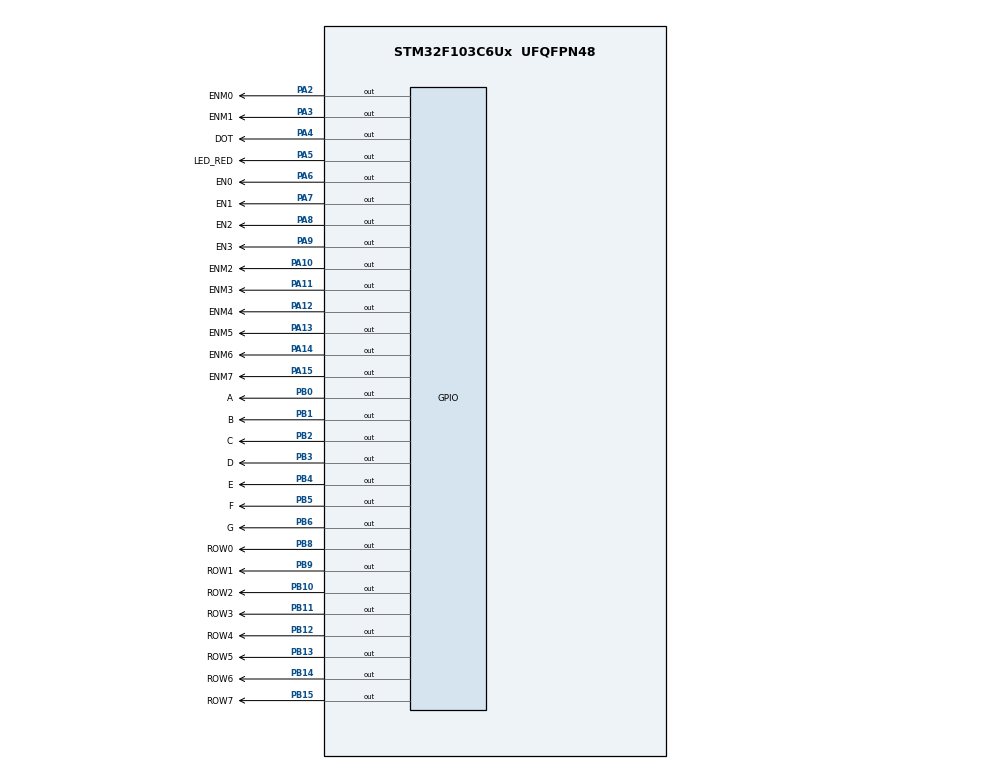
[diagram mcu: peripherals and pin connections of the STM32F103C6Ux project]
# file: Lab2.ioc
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Mcu.Family=STM32F1
Mcu.Name=STM32F103C6Ux
Mcu.Package=UFQFPN48
NVIC.PriorityGroup=NVIC_PRIORITYGROUP_4
NVIC.TIM2_IRQn=true\:0\:0\:false\:false\:true\:true\:true\:true
PA10.GPIO_Label=ENM2
PA10.Signal=GPIO_Output
PA11.GPIO_Label=ENM3
PA11.Signal=GPIO_Output
PA12.GPIO_Label=ENM4
PA12.Signal=GPIO_Output
PA13.GPIO_Label=ENM5
PA13.Signal=GPIO_Output
PA14.GPIO_Label=ENM6
PA14.Signal=GPIO_Output
PA15.GPIO_Label=ENM7
PA15.Signal=GPIO_Output
PA2.GPIO_Label=ENM0
PA2.Signal=GPIO_Output
PA3.GPIO_Label=ENM1
PA3.Signal=GPIO_Output
PA4.GPIO_Label=DOT
PA4.Signal=GPIO_Output
PA5.GPIO_Label=LED_RED
PA5.Signal=GPIO_Output
PA6.GPIO_Label=EN0
PA6.PinState=GPIO_PIN_RESET
PA6.Signal=GPIO_Output
PA7.GPIO_Label=EN1
PA7.PinState=GPIO_PIN_SET
PA7.Signal=GPIO_Output
PA8.GPIO_Label=EN2
PA8.PinState=GPIO_PIN_SET
PA8.Signal=GPIO_Output
PA9.GPIO_Label=EN3
PA9.PinState=GPIO_PIN_SET
PA9.Signal=GPIO_Output
PB0.GPIO_Label=A
PB0.PinState=GPIO_PIN_RESET
PB0.Signal=GPIO_Output
PB1.GPIO_Label=B
PB1.PinState=GPIO_PIN_RESET
PB1.Signal=GPIO_Output
PB10.GPIO_Label=ROW2
PB10.Signal=GPIO_Output
PB11.GPIO_Label=ROW3
PB11.Signal=GPIO_Output
PB12.GPIO_Label=ROW4
PB12.Signal=GPIO_Output
PB13.GPIO_Label=ROW5
PB13.Signal=GPIO_Output
PB14.GPIO_Label=ROW6
PB14.Signal=GPIO_Output
PB15.GPIO_Label=ROW7
PB15.Signal=GPIO_Output
PB2.GPIO_Label=C
PB2.PinState=GPIO_PIN_RESET
PB2.Signal=GPIO_Output
PB3.GPIO_Label=D
PB3.PinState=GPIO_PIN_RESET
PB3.Signal=GPIO_Output
PB4.GPIO_Label=E
PB4.PinState=GPIO_PIN_RESET
PB4.Signal=GPIO_Output
PB5.GPIO_Label=F
PB5.PinState=GPIO_PIN_RESET
PB5.Signal=GPIO_Output
PB6.GPIO_Label=G
PB6.PinState=GPIO_PIN_RESET
PB6.Signal=GPIO_Output
PB8.GPIO_Label=ROW0
PB8.Signal=GPIO_Output
PB9.GPIO_Label=ROW1
PB9.Signal=GPIO_Output
ProjectManager.HeapSize=0x200
ProjectManager.StackSize=0x400
ProjectManager.TargetToolchain=STM32CubeIDE
RCC.APB1Freq_Value=8000000
RCC.APB2Freq_Value=8000000
TIM2.Period=10
TIM2.Prescaler=7999
VP_TIM2_VS_ClockSourceINT.Mode=Internal
board=custom

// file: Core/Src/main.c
/* USER CODE BEGIN Header */
/**
  ******************************************************************************
  * @file           : main.c
  * @brief          : Main program body
  ******************************************************************************
  * @attention
  *
  * Copyright (c) 2023 STMicroelectronics.
  * All rights reserved.
  *
  * This software is licensed under terms that can be found in the LICENSE file
  * in the root directory of this software component.
  * If no LICENSE file comes with this software, it is provided AS-IS.
  *
  ******************************************************************************
  */
/* USER CODE END Header */
#include "main.h"

/* USER CODE BEGIN Includes */
#include "software_timer.h"
/* USER CODE END Includes */

TIM_HandleTypeDef htim2;

void SystemClock_Config(void);
static void MX_GPIO_Init(void);
static void MX_TIM2_Init(void);

/* USER CODE BEGIN 0 */
void display7SEG(int num){
	switch(num){
		case 0:
			HAL_GPIO_WritePin ( A_GPIO_Port , A_Pin , GPIO_PIN_RESET ) ;
			HAL_GPIO_WritePin ( B_GPIO_Port , B_Pin , GPIO_PIN_RESET ) ;
			HAL_GPIO_WritePin ( C_GPIO_Port , C_Pin , GPIO_PIN_RESET ) ;
			HAL_GPIO_WritePin ( D_GPIO_Port , D_Pin , GPIO_PIN_RESET ) ;
			HAL_GPIO_WritePin ( E_GPIO_Port , E_Pin , GPIO_PIN_RESET ) ;
			HAL_GPIO_WritePin ( F_GPIO_Port , F_Pin , GPIO_PIN_RESET ) ;
			HAL_GPIO_WritePin ( G_GPIO_Port , G_Pin , GPIO_PIN_SET ) ;
			break;
		case 1:
			HAL_GPIO_WritePin ( A_GPIO_Port , A_Pin , GPIO_PIN_SET ) ;
			HAL_GPIO_WritePin ( B_GPIO_Port , B_Pin , GPIO_PIN_RESET ) ;
			HAL_GPIO_WritePin ( C_GPIO_Port , C_Pin , GPIO_PIN_RESET ) ;
			HAL_GPIO_WritePin ( D_GPIO_Port , D_Pin , GPIO_PIN_SET ) ;
			HAL_GPIO_WritePin ( E_GPIO_Port , E_Pin , GPIO_PIN_SET ) ;
			HAL_GPIO_WritePin ( F_GPIO_Port , F_Pin , GPIO_PIN_SET ) ;
			HAL_GPIO_WritePin ( G_GPIO_Port , G_Pin , GPIO_PIN_SET ) ;
			break;
		case 2:
			HAL_GPIO_WritePin ( A_GPIO_Port , A_Pin , GPIO_PIN_RESET ) ;
			HAL_GPIO_WritePin ( B_GPIO_Port , B_Pin , GPIO_PIN_RESET ) ;
			HAL_GPIO_WritePin ( C_GPIO_Port , C_Pin , GPIO_PIN_SET ) ;
			HAL_GPIO_WritePin ( D_GPIO_Port , D_Pin , GPIO_PIN_RESET ) ;
			HAL_GPIO_WritePin ( E_GPIO_Port , E_Pin , GPIO_PIN_RESET ) ;
			HAL_GPIO_WritePin ( F_GPIO_Port , F_Pin , GPIO_PIN_SET ) ;
			HAL_GPIO_WritePin ( G_GPIO_Port , G_Pin , GPIO_PIN_RESET ) ;
			break;
		case 3:
			HAL_GPIO_WritePin ( A_GPIO_Port , A_Pin , GPIO_PIN_RESET ) ;
			HAL_GPIO_WritePin ( B_GPIO_Port , B_Pin , GPIO_PIN_RESET ) ;
			HAL_GPIO_WritePin ( C_GPIO_Port , C_Pin , GPIO_PIN_RESET ) ;
			HAL_GPIO_WritePin ( D_GPIO_Port , D_Pin , GPIO_PIN_RESET ) ;
			HAL_GPIO_WritePin ( E_GPIO_Port , E_Pin , GPIO_PIN_SET ) ;
			HAL_GPIO_WritePin ( F_GPIO_Port , F_Pin , GPIO_PIN_SET ) ;
			HAL_GPIO_WritePin ( G_GPIO_Port , G_Pin , GPIO_PIN_RESET ) ;
			break;
		case 4:
			HAL_GPIO_WritePin ( A_GPIO_Port , A_Pin , GPIO_PIN_SET ) ;
			HAL_GPIO_WritePin ( B_GPIO_Port , B_Pin , GPIO_PIN_RESET ) ;
			HAL_GPIO_WritePin ( C_GPIO_Port , C_Pin , GPIO_PIN_RESET ) ;
			HAL_GPIO_WritePin ( D_GPIO_Port , D_Pin , GPIO_PIN_SET ) ;
			HAL_GPIO_WritePin ( E_GPIO_Port , E_Pin , GPIO_PIN_SET ) ;
			HAL_GPIO_WritePin ( F_GPIO_Port , F_Pin , GPIO_PIN_RESET ) ;
			HAL_GPIO_WritePin ( G_GPIO_Port , G_Pin , GPIO_PIN_RESET ) ;
			break;
		case 5:
			HAL_GPIO_WritePin ( A_GPIO_Port , A_Pin , GPIO_PIN_RESET ) ;
			HAL_GPIO_WritePin ( B_GPIO_Port , B_Pin , GPIO_PIN_SET ) ;
			HAL_GPIO_WritePin ( C_GPIO_Port , C_Pin , GPIO_PIN_RESET ) ;
			HAL_GPIO_WritePin ( D_GPIO_Port , D_Pin , GPIO_PIN_RESET ) ;
			HAL_GPIO_WritePin ( E_GPIO_Port , E_Pin , GPIO_PIN_SET ) ;
			HAL_GPIO_WritePin ( F_GPIO_Port , F_Pin , GPIO_PIN_RESET ) ;
			HAL_GPIO_WritePin ( G_GPIO_Port , G_Pin , GPIO_PIN_RESET ) ;
			break;
		case 6:
			HAL_GPIO_WritePin ( A_GPIO_Port , A_Pin , GPIO_PIN_RESET ) ;
			HAL_GPIO_WritePin ( B_GPIO_Port , B_Pin , GPIO_PIN_SET ) ;
			HAL_GPIO_WritePin ( C_GPIO_Port , C_Pin , GPIO_PIN_RESET ) ;
			HAL_GPIO_WritePin ( D_GPIO_Port , D_Pin , GPIO_PIN_RESET ) ;
			HAL_GPIO_WritePin ( E_GPIO_Port , E_Pin , GPIO_PIN_RESET ) ;
			HAL_GPIO_WritePin ( F_GPIO_Port , F_Pin , GPIO_PIN_RESET ) ;
			HAL_GPIO_WritePin ( G_GPIO_Port , G_Pin , GPIO_PIN_RESET ) ;
			break;
		case 7:
			HAL_GPIO_WritePin ( A_GPIO_Port , A_Pin , GPIO_PIN_RESET ) ;
			HAL_GPIO_WritePin ( B_GPIO_Port , B_Pin , GPIO_PIN_RESET ) ;
			HAL_GPIO_WritePin ( C_GPIO_Port , C_Pin , GPIO_PIN_RESET ) ;
			HAL_GPIO_WritePin ( D_GPIO_Port , D_Pin , GPIO_PIN_SET ) ;
			HAL_GPIO_WritePin ( E_GPIO_Port , E_Pin , GPIO_PIN_SET ) ;
			HAL_GPIO_WritePin ( F_GPIO_Port , F_Pin , GPIO_PIN_SET ) ;
			HAL_GPIO_WritePin ( G_GPIO_Port , G_Pin , GPIO_PIN_SET ) ;
			break;
		case 8:
			HAL_GPIO_WritePin ( A_GPIO_Port , A_Pin , GPIO_PIN_RESET ) ;
			HAL_GPIO_WritePin ( B_GPIO_Port , B_Pin , GPIO_PIN_RESET ) ;
			HAL_GPIO_WritePin ( C_GPIO_Port , C_Pin , GPIO_PIN_RESET ) ;
			HAL_GPIO_WritePin ( D_GPIO_Port , D_Pin , GPIO_PIN_RESET ) ;
			HAL_GPIO_WritePin ( E_GPIO_Port , E_Pin , GPIO_PIN_RESET ) ;
			HAL_GPIO_WritePin ( F_GPIO_Port , F_Pin , GPIO_PIN_RESET ) ;
			HAL_GPIO_WritePin ( G_GPIO_Port , G_Pin , GPIO_PIN_RESET ) ;
			break;
		case 9:
			HAL_GPIO_WritePin ( A_GPIO_Port , A_Pin , GPIO_PIN_RESET ) ;
			HAL_GPIO_WritePin ( B_GPIO_Port , B_Pin , GPIO_PIN_RESET ) ;
			HAL_GPIO_WritePin ( C_GPIO_Port , C_Pin , GPIO_PIN_RESET ) ;
			HAL_GPIO_WritePin ( D_GPIO_Port , D_Pin , GPIO_PIN_RESET ) ;
			HAL_GPIO_WritePin ( E_GPIO_Port , E_Pin , GPIO_PIN_SET ) ;
			HAL_GPIO_WritePin ( F_GPIO_Port , F_Pin , GPIO_PIN_RESET ) ;
			HAL_GPIO_WritePin ( G_GPIO_Port , G_Pin , GPIO_PIN_RESET ) ;
			break;
		default:
			break;
	}
}
/* USER CODE END 0 */

int main(void)
{

  /* MCU Configuration--------------------------------------------------------*/

  /* Reset of all peripherals, Initializes the Flash interface and the Systick. */
  HAL_Init();

  /* Configure the system clock */
  SystemClock_Config();

  /* Initialize all configured peripherals */
  MX_GPIO_Init();
  MX_TIM2_Init();
  /* USER CODE BEGIN 2 */
  setTimer(0, 100);
  setTimer(1, 25);
  setTimer(2, 1);
  HAL_TIM_Base_Start_IT(&htim2);
const int MAX_LED = 4;
int index_led = 0;
int led_buffer [4] = {1 , 2 , 3 , 4};
void update7SEG ( int index ) {
	display7SEG(led_buffer[index]);
	switch ( index ) {
		case 0:
			// Display the first 7 SEG with led_buffer [0]
			HAL_GPIO_WritePin(GPIOA, EN0_Pin, RESET);
			HAL_GPIO_WritePin(GPIOA, EN1_Pin, SET);
			HAL_GPIO_WritePin(GPIOA, EN2_Pin, SET);
			HAL_GPIO_WritePin(GPIOA, EN3_Pin, SET);
			break ;
		case 1:
			// Display the second 7 SEG with led_buffer [1]
			HAL_GPIO_WritePin(GPIOA, EN0_Pin, SET);
			HAL_GPIO_WritePin(GPIOA, EN1_Pin, RESET);
			HAL_GPIO_WritePin(GPIOA, EN2_Pin, SET);
			HAL_GPIO_WritePin(GPIOA, EN3_Pin, SET);
			break ;
		case 2:
			// Display the third 7 SEG with led_buffer [2]
			HAL_GPIO_WritePin(GPIOA, EN0_Pin, SET);
			HAL_GPIO_WritePin(GPIOA, EN1_Pin, SET);
			HAL_GPIO_WritePin(GPIOA, EN2_Pin, RESET);
			HAL_GPIO_WritePin(GPIOA, EN3_Pin, SET);
			break ;
		case 3:
			// Display the forth 7 SEG with led_buffer [3]
			HAL_GPIO_WritePin(GPIOA, EN0_Pin, SET);
			HAL_GPIO_WritePin(GPIOA, EN1_Pin, SET);
			HAL_GPIO_WritePin(GPIOA, EN2_Pin, SET);
			HAL_GPIO_WritePin(GPIOA, EN3_Pin, RESET);
			break ;
		default :
			break ;
	}
}
int hour = 15, minute = 8, second = 50;
void updateClockBuffer(){
	led_buffer[0] = hour/10;
	led_buffer[1] = hour%10;
	led_buffer[2] = minute/10;
	led_buffer[3] = minute%10;
}
const int MAX_LED_MATRIX = 8;
int index_led_matrix = 0;
int init_buffer = 3;
int current_buffer = 3;
uint8_t matrix_buffer [8] = {0x3F, 0x7F, 0xCC, 0xCC, 0x7F, 0x3F, 0x00, 0x00};
void setRow(uint8_t code){
	  if((code >> 0) & 0x01)
		  HAL_GPIO_WritePin(ROW7_GPIO_Port, ROW7_Pin, RESET);
	  if((code >> 1) & 0x01)
		  HAL_GPIO_WritePin(ROW6_GPIO_Port, ROW6_Pin, RESET);
	  if((code >> 2) & 0x01)
		  HAL_GPIO_WritePin(ROW5_GPIO_Port, ROW5_Pin, RESET);
	  if((code >> 3) & 0x01)
		  HAL_GPIO_WritePin(ROW4_GPIO_Port, ROW4_Pin, RESET);
	  if((code >> 4) & 0x01)
		  HAL_GPIO_WritePin(ROW3_GPIO_Port, ROW3_Pin, RESET);
	  if((code >> 5) & 0x01)
		  HAL_GPIO_WritePin(ROW2_GPIO_Port, ROW2_Pin, RESET);
	  if((code >> 6) & 0x01)
		  HAL_GPIO_WritePin(ROW1_GPIO_Port, ROW1_Pin, RESET);
	  if((code >> 7) & 0x01)
		  HAL_GPIO_WritePin(ROW0_GPIO_Port, ROW0_Pin, RESET);
  }
void updateLEDMatrix (int index_led_matrix, int current_buffer) {
	if(current_buffer < 0) return;
	HAL_GPIO_WritePin(GPIOA, ENM0_Pin|ENM1_Pin|ENM2_Pin|ENM3_Pin|
							 ENM4_Pin|ENM5_Pin|ENM6_Pin|ENM7_Pin, GPIO_PIN_SET);
	HAL_GPIO_WritePin(GPIOB, ROW0_Pin|ROW1_Pin|ROW2_Pin|ROW3_Pin|
							 ROW4_Pin|ROW5_Pin|ROW6_Pin|ROW7_Pin, GPIO_PIN_SET);
	switch (current_buffer) {
		case 0:
			HAL_GPIO_WritePin(GPIOA, ENM0_Pin, RESET);
			break;
		case 1:
			HAL_GPIO_WritePin(GPIOA, ENM1_Pin, RESET);
			break;
		case 2:
			HAL_GPIO_WritePin(GPIOA, ENM2_Pin, RESET);
			break;
		case 3:
			HAL_GPIO_WritePin(GPIOA, ENM3_Pin, RESET);
			break;
		case 4:
			HAL_GPIO_WritePin(GPIOA, ENM4_Pin, RESET);
			break;
		case 5:
			HAL_GPIO_WritePin(GPIOA, ENM5_Pin, RESET);
			break;
		case 6:
			HAL_GPIO_WritePin(GPIOA, ENM6_Pin, RESET);
			break;
		case 7:
			HAL_GPIO_WritePin(GPIOA, ENM7_Pin, RESET);
			break;
		default :
			break;
	}
	setRow(matrix_buffer[index_led_matrix]);
}
  /* USER CODE END 2 */

  /* Infinite loop */
  /* USER CODE BEGIN WHILE */
  while (1)
  {
	  if(timer_flag[0] == 1){
		  HAL_GPIO_TogglePin(GPIOA, LED_RED_Pin);
		  HAL_GPIO_TogglePin(GPIOA, DOT_Pin);
		  second++;
		  if(second >= 60){
			  second = 0;
			  minute++;
		  }
		  if(minute >= 60){
			  minute = 0;
			  hour++;
		  }
		  if(hour >= 24){
			  hour = 0;
		  }
		  updateClockBuffer();
		  setTimer(0, 100);
	  }
	  if(timer_flag[1] == 1){
		  update7SEG(index_led);
		  index_led++;
		  if(index_led > 3) index_led = 0;
		  setTimer(1, 25);
	  }
	  if(timer_flag[2] == 1){
		  updateLEDMatrix(index_led_matrix, current_buffer);
		  current_buffer++;
		  index_led_matrix++;
		  if(index_led_matrix >= MAX_LED_MATRIX){
			  index_led_matrix = 0;
			  init_buffer--;
			  if(init_buffer == -8) init_buffer = 7;
			  current_buffer = init_buffer;
	  	  }
		  setTimer(2, 1);
	  }
    /* USER CODE END WHILE */

  }
}

void SystemClock_Config(void)
{
  RCC_OscInitTypeDef RCC_OscInitStruct = {0};
  RCC_ClkInitTypeDef RCC_ClkInitStruct = {0};

  /** Initializes the RCC Oscillators according to the specified parameters
  * in the RCC_OscInitTypeDef structure.
  */
  RCC_OscInitStruct.OscillatorType = RCC_OSCILLATORTYPE_HSI;
  RCC_OscInitStruct.HSIState = RCC_HSI_ON;
  RCC_OscInitStruct.HSICalibrationValue = RCC_HSICALIBRATION_DEFAULT;
  RCC_OscInitStruct.PLL.PLLState = RCC_PLL_NONE;
  if (HAL_RCC_OscConfig(&RCC_OscInitStruct) != HAL_OK)
  {
    Error_Handler();
  }

  /** Initializes the CPU, AHB and APB buses clocks
  */
  RCC_ClkInitStruct.ClockType = RCC_CLOCKTYPE_HCLK|RCC_CLOCKTYPE_SYSCLK
                              |RCC_CLOCKTYPE_PCLK1|RCC_CLOCKTYPE_PCLK2;
  RCC_ClkInitStruct.SYSCLKSource = RCC_SYSCLKSOURCE_HSI;
  RCC_ClkInitStruct.AHBCLKDivider = RCC_SYSCLK_DIV1;
  RCC_ClkInitStruct.APB1CLKDivider = RCC_HCLK_DIV1;
  RCC_ClkInitStruct.APB2CLKDivider = RCC_HCLK_DIV1;

  if (HAL_RCC_ClockConfig(&RCC_ClkInitStruct, FLASH_LATENCY_0) != HAL_OK)
  {
    Error_Handler();
  }
}

static void MX_TIM2_Init(void)
{

  TIM_ClockConfigTypeDef sClockSourceConfig = {0};
  TIM_MasterConfigTypeDef sMasterConfig = {0};

  htim2.Instance = TIM2;
  htim2.Init.Prescaler = 7999;
  htim2.Init.CounterMode = TIM_COUNTERMODE_UP;
  htim2.Init.Period = 10;
  htim2.Init.ClockDivision = TIM_CLOCKDIVISION_DIV1;
  htim2.Init.AutoReloadPreload = TIM_AUTORELOAD_PRELOAD_DISABLE;
  if (HAL_TIM_Base_Init(&htim2) != HAL_OK)
  {
    Error_Handler();
  }
  sClockSourceConfig.ClockSource = TIM_CLOCKSOURCE_INTERNAL;
  if (HAL_TIM_ConfigClockSource(&htim2, &sClockSourceConfig) != HAL_OK)
  {
    Error_Handler();
  }
  sMasterConfig.MasterOutputTrigger = TIM_TRGO_RESET;
  sMasterConfig.MasterSlaveMode = TIM_MASTERSLAVEMODE_DISABLE;
  if (HAL_TIMEx_MasterConfigSynchronization(&htim2, &sMasterConfig) != HAL_OK)
  {
    Error_Handler();
  }

}

static void MX_GPIO_Init(void)
{
  GPIO_InitTypeDef GPIO_InitStruct = {0};

  /* GPIO Ports Clock Enable */
  __HAL_RCC_GPIOA_CLK_ENABLE();
  __HAL_RCC_GPIOB_CLK_ENABLE();

  /*Configure GPIO pin Output Level */
  HAL_GPIO_WritePin(GPIOA, ENM0_Pin|ENM1_Pin|DOT_Pin|LED_RED_Pin
                          |EN0_Pin, GPIO_PIN_RESET);

  /*Configure GPIO pin Output Level */
  HAL_GPIO_WritePin(GPIOA, EN1_Pin|EN2_Pin|EN3_Pin|ENM2_Pin
                          |ENM3_Pin|ENM4_Pin|ENM5_Pin|ENM6_Pin
                          |ENM7_Pin, GPIO_PIN_SET);

  /*Configure GPIO pin Output Level */
  HAL_GPIO_WritePin(GPIOB, A_Pin|B_Pin|C_Pin|ROW2_Pin
                          |ROW3_Pin|ROW4_Pin|ROW5_Pin|ROW6_Pin
                          |ROW7_Pin|D_Pin|E_Pin|F_Pin
                          |G_Pin|ROW0_Pin|ROW1_Pin, GPIO_PIN_RESET);

  /*Configure GPIO pins : ENM0_Pin ENM1_Pin DOT_Pin LED_RED_Pin
                           EN0_Pin EN1_Pin EN2_Pin EN3_Pin
                           ENM2_Pin ENM3_Pin ENM4_Pin ENM5_Pin
                           ENM6_Pin ENM7_Pin */
  GPIO_InitStruct.Pin = ENM0_Pin|ENM1_Pin|DOT_Pin|LED_RED_Pin
                          |EN0_Pin|EN1_Pin|EN2_Pin|EN3_Pin
                          |ENM2_Pin|ENM3_Pin|ENM4_Pin|ENM5_Pin
                          |ENM6_Pin|ENM7_Pin;
  GPIO_InitStruct.Mode = GPIO_MODE_OUTPUT_PP;
  GPIO_InitStruct.Pull = GPIO_NOPULL;
  GPIO_InitStruct.Speed = GPIO_SPEED_FREQ_LOW;
  HAL_GPIO_Init(GPIOA, &GPIO_InitStruct);

  /*Configure GPIO pins : A_Pin B_Pin C_Pin ROW2_Pin
                           ROW3_Pin ROW4_Pin ROW5_Pin ROW6_Pin
                           ROW7_Pin D_Pin E_Pin F_Pin
                           G_Pin ROW0_Pin ROW1_Pin */
  GPIO_InitStruct.Pin = A_Pin|B_Pin|C_Pin|ROW2_Pin
                          |ROW3_Pin|ROW4_Pin|ROW5_Pin|ROW6_Pin
                          |ROW7_Pin|D_Pin|E_Pin|F_Pin
                          |G_Pin|ROW0_Pin|ROW1_Pin;
  GPIO_InitStruct.Mode = GPIO_MODE_OUTPUT_PP;
  GPIO_InitStruct.Pull = GPIO_NOPULL;
  GPIO_InitStruct.Speed = GPIO_SPEED_FREQ_LOW;
  HAL_GPIO_Init(GPIOB, &GPIO_InitStruct);

}

/* USER CODE BEGIN 4 */
void HAL_TIM_PeriodElapsedCallback(TIM_HandleTypeDef *htim){
	timerRun(0);
	timerRun(1);
	timerRun(2);
}
/* USER CODE END 4 */

void Error_Handler(void)
{
  __disable_irq();
  while (1)
  {
  }
}
